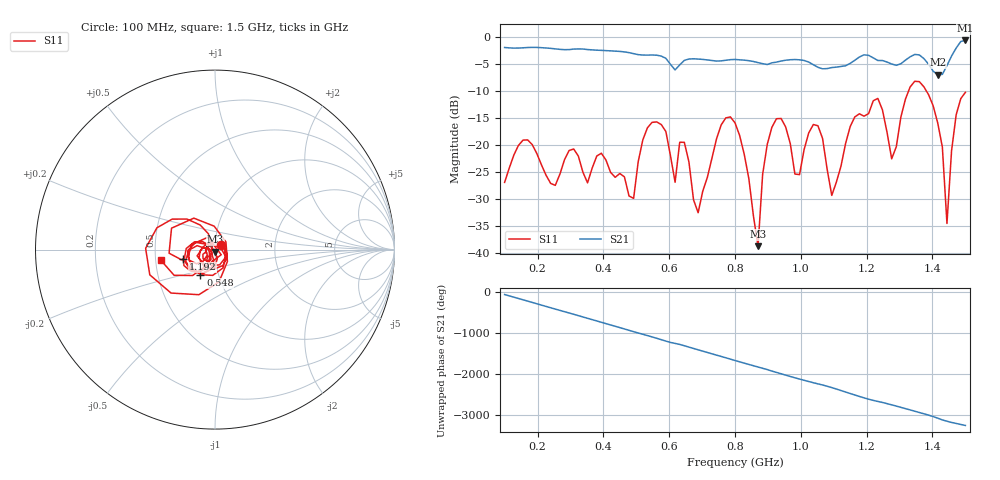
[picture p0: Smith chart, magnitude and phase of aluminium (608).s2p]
! NanoVNA-App
! Date: 2025-09-25 15:00:00
! Start: 100MHz Stop: 1,5GHz Points: 101
! S-Parameter data: F S11 S21 S12 S22
# Hz S RI R 50
!  Frequency  S11_Real  S11_Imag  S21_Real  S21_Imag  S12_Real  S12_Imag  S22_Real  S22_Imag
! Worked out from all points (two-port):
!   101 points, 100 MHz to 1.5 GHz, reference 50 ohm
!   highest |S21| = -0.61 dB at 1.5 GHz (marker M1); lowest = -7.0 dB at 1.416 GHz (marker M2)
!   |S21| within 3 dB of the highest: start of sweep to 579.3 MHz; 1.457 GHz to end of sweep (the widest 2 of 4)
!   lowest |S11| = -38.8 dB at 870 MHz (marker M3), VSWR 1.02, Z = 50.2 - j1.13 ohm
!   |S11| at or under -10 dB: start of sweep to 1.327 GHz; 1.382 GHz to end of sweep
!   S12 and S22 are empty: the file has one direction only
!   S11 on the Smith chart (normalised r, x): 100 MHz: 1.07, +0.06; 548 MHz: 0.82, -0.24; 1.192 GHz: 0.70, -0.07; 1.5 GHz: 0.53, -0.07
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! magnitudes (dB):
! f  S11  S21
! 100 MHz  -27.0  -1.9
! 156 MHz  -19.1  -2.0
! 338 MHz  -25.1  -2.2
! 492 MHz  -29.9  -3.1
! 548 MHz  -15.8  -3.3
! 576 MHz  -16.2  -3.5
! 646 MHz  -19.5  -4.3
! 688 MHz  -32.6  -4.1
! 800 MHz  -15.9  -4.1
! 870 MHz  -38.8  -4.7
! 912 MHz  -16.7  -4.8
! 996 MHz  -25.5  -4.2
! 1.038 GHz  -16.2  -5.1
! 1.094 GHz  -29.4  -5.6
! 1.192 GHz  -14.7  -3.3
! 1.234 GHz  -11.4  -4.3
! 1.276 GHz  -22.6  -5.0
! 1.346 GHz  -8.2  -3.2
! 1.416 GHz  -15.9  -7.0
! 1.444 GHz  -34.6  -5.3
! 1.472 GHz  -14.4  -2.0
! 1.5 GHz  -10.2  -0.6
